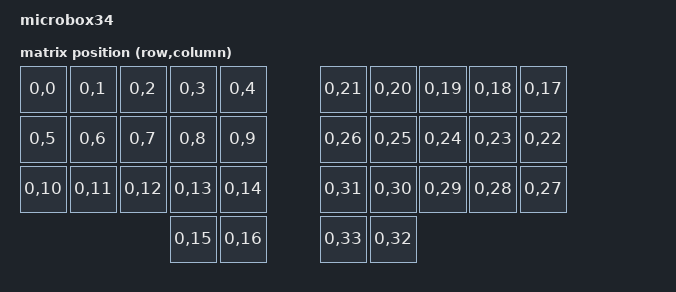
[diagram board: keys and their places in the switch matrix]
/*
*
* Copyright (c) 2021 Darryl deHaan
* SPDX-License-Identifier: MIT
*
*/

/dts-v1/;
#include <nordic/nrf52840_qiaa.dtsi>
#include <dt-bindings/zmk/matrix_transform.h>

/ {
    model = "microbox34";
    compatible = "microbox34";

    chosen {
        zephyr,code-partition = &code_partition;
        zephyr,sram = &sram0;
        zephyr,flash = &flash0;
        zmk,kscan = &kscan0;
        zephyr,console = &cdc_acm_uart;
        zmk,matrix-transform = &default_transform;
    };
    
    default_transform: keymap_transform_0 {
        compatible = "zmk,matrix-transform";
        columns = <34>;
        rows = <1>;
        map = <
            RC(0,0)  RC(0,1)  RC(0,2)  RC(0,3)  RC(0,4)   RC(0,21) RC(0,20) RC(0,19) RC(0,18) RC(0,17)
            RC(0,5)  RC(0,6)  RC(0,7)  RC(0,8)  RC(0,9)   RC(0,26) RC(0,25) RC(0,24) RC(0,23) RC(0,22)
            RC(0,10) RC(0,11) RC(0,12) RC(0,13) RC(0,14)  RC(0,31) RC(0,30) RC(0,29) RC(0,28) RC(0,27)
                                        RC(0,15) RC(0,16)  RC(0,33) RC(0,32)
        >;
    };
};

&adc {
    status = "okay";
};

&gpiote {
    status = "okay";
};

&gpio0 {
    status = "okay";
};

&gpio1 {
    status = "okay";
};

&usbd {
    status = "okay";
    cdc_acm_uart: cdc_acm_uart {
        compatible = "zephyr,cdc-acm-uart";
    };
};

&flash0 {
    /*
     * For more information, see:
     * http://docs.zephyrproject.org/latest/devices/dts/flash_partitions.html
     */
    partitions {
        compatible = "fixed-partitions";
        #address-cells = <1>;
        #size-cells = <1>;

        sd_partition: partition@0 {
            reg = <0x00000000 0x00026000>;
        };
        code_partition: partition@26000 {
            reg = <0x00026000 0x000c6000>;
        };

        /*
         * The flash starting at 0x000ec000 and ending at
         * 0x000f3fff is reserved for use by the application.
         */

        /*
         * Storage partition will be used by FCB/LittleFS/NVS
         * if enabled.
         */
        storage_partition: partition@ec000 {
            reg = <0x000ec000 0x00008000>;
        };

        boot_partition: partition@f4000 {
            reg = <0x000f4000 0x0000c000>;
        };
    };
};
